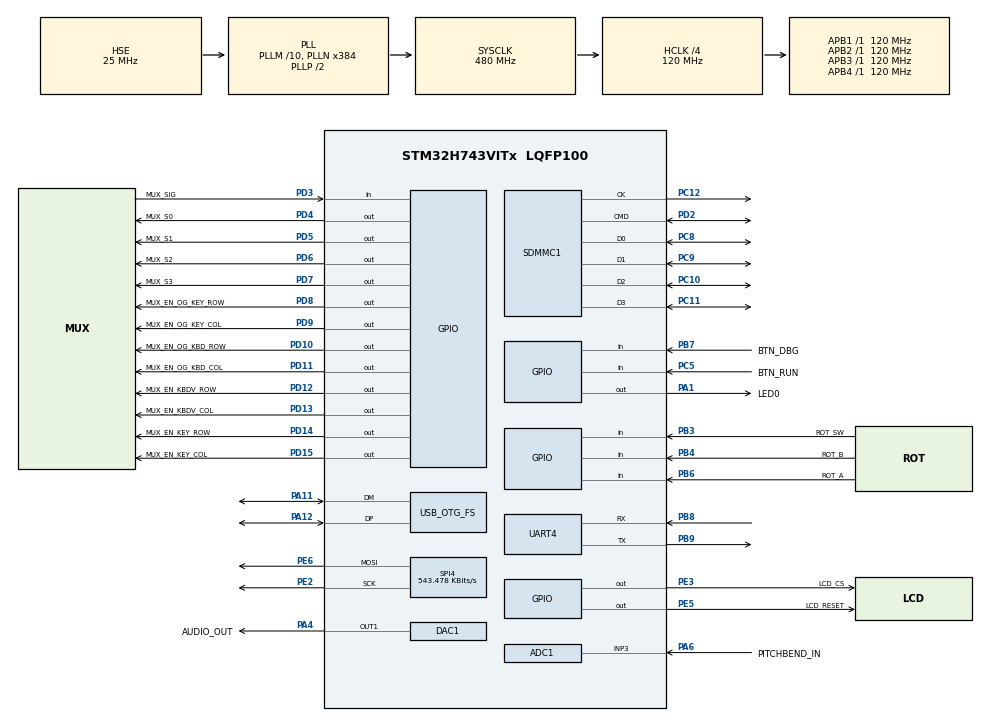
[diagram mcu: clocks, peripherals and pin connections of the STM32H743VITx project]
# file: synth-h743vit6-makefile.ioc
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ADC1.Channel-0\#ChannelRegularConversion=ADC_CHANNEL_3
ADC1.NbrOfConversionFlag=1
ADC1.OffsetNumber-0\#ChannelRegularConversion=ADC_OFFSET_NONE
ADC1.OffsetSignedSaturation-0\#ChannelRegularConversion=DISABLE
ADC1.Rank-0\#ChannelRegularConversion=1
ADC1.SamplingTime-0\#ChannelRegularConversion=ADC_SAMPLETIME_1CYCLE_5
ADC1.master=1
CORTEX_M7.default_mode_Activation=1
DAC1.DAC_Channel-DAC_OUT1=DAC_CHANNEL_1
DAC1.DAC_Trigger-DAC_OUT1=DAC_TRIGGER_T6_TRGO
Dma.DAC1_CH1.0.Direction=DMA_MEMORY_TO_PERIPH
Dma.DAC1_CH1.0.EventEnable=DISABLE
Dma.DAC1_CH1.0.FIFOMode=DMA_FIFOMODE_DISABLE
Dma.DAC1_CH1.0.Instance=DMA1_Stream0
Dma.DAC1_CH1.0.MemDataAlignment=DMA_MDATAALIGN_HALFWORD
Dma.DAC1_CH1.0.MemInc=DMA_MINC_ENABLE
Dma.DAC1_CH1.0.Mode=DMA_CIRCULAR
Dma.DAC1_CH1.0.PeriphDataAlignment=DMA_PDATAALIGN_HALFWORD
Dma.DAC1_CH1.0.PeriphInc=DMA_PINC_DISABLE
Dma.DAC1_CH1.0.Polarity=HAL_DMAMUX_REQ_GEN_RISING
Dma.DAC1_CH1.0.Priority=DMA_PRIORITY_VERY_HIGH
Dma.DAC1_CH1.0.RequestNumber=1
Dma.DAC1_CH1.0.SignalID=NONE
Dma.DAC1_CH1.0.SyncEnable=DISABLE
Dma.DAC1_CH1.0.SyncPolarity=HAL_DMAMUX_SYNC_NO_EVENT
Dma.DAC1_CH1.0.SyncRequestNumber=1
Dma.DAC1_CH1.0.SyncSignalID=NONE
Dma.Request0=DAC1_CH1
Dma.Request1=SPI4_TX
Dma.Request2=UART4_TX
Dma.SPI4_TX.1.Direction=DMA_MEMORY_TO_PERIPH
Dma.SPI4_TX.1.EventEnable=DISABLE
Dma.SPI4_TX.1.FIFOMode=DMA_FIFOMODE_DISABLE
Dma.SPI4_TX.1.Instance=DMA1_Stream1
Dma.SPI4_TX.1.MemDataAlignment=DMA_MDATAALIGN_BYTE
Dma.SPI4_TX.1.MemInc=DMA_MINC_ENABLE
Dma.SPI4_TX.1.Mode=DMA_NORMAL
Dma.SPI4_TX.1.PeriphDataAlignment=DMA_PDATAALIGN_BYTE
Dma.SPI4_TX.1.PeriphInc=DMA_PINC_DISABLE
Dma.SPI4_TX.1.Polarity=HAL_DMAMUX_REQ_GEN_RISING
Dma.SPI4_TX.1.Priority=DMA_PRIORITY_LOW
Dma.SPI4_TX.1.RequestNumber=1
Dma.SPI4_TX.1.SignalID=NONE
Dma.SPI4_TX.1.SyncEnable=DISABLE
Dma.SPI4_TX.1.SyncPolarity=HAL_DMAMUX_SYNC_NO_EVENT
Dma.SPI4_TX.1.SyncRequestNumber=1
Dma.SPI4_TX.1.SyncSignalID=NONE
Dma.UART4_TX.2.Direction=DMA_MEMORY_TO_PERIPH
Dma.UART4_TX.2.EventEnable=DISABLE
Dma.UART4_TX.2.FIFOMode=DMA_FIFOMODE_DISABLE
Dma.UART4_TX.2.Instance=DMA1_Stream2
Dma.UART4_TX.2.MemDataAlignment=DMA_MDATAALIGN_BYTE
Dma.UART4_TX.2.MemInc=DMA_MINC_ENABLE
Dma.UART4_TX.2.Mode=DMA_NORMAL
Dma.UART4_TX.2.PeriphDataAlignment=DMA_PDATAALIGN_BYTE
Dma.UART4_TX.2.PeriphInc=DMA_PINC_DISABLE
Dma.UART4_TX.2.Polarity=HAL_DMAMUX_REQ_GEN_RISING
Dma.UART4_TX.2.Priority=DMA_PRIORITY_MEDIUM
Dma.UART4_TX.2.RequestNumber=1
Dma.UART4_TX.2.SignalID=NONE
Dma.UART4_TX.2.SyncEnable=DISABLE
Dma.UART4_TX.2.SyncPolarity=HAL_DMAMUX_SYNC_NO_EVENT
Dma.UART4_TX.2.SyncRequestNumber=1
Dma.UART4_TX.2.SyncSignalID=NONE
Mcu.Family=STM32H7
Mcu.Name=STM32H743VITx
Mcu.Package=LQFP100
Mcu.UserConstants=dac1ch1,audio;dac1ch2,triangle;usage4,us delay timer;usage3,poll timer;usage6,48khz dac;usage5,us timer;usage7,10khz timer;usage17,rotary encoder
NVIC.DMA1_Stream0_IRQn=true\:14\:0\:true\:false\:true\:false\:true\:true
NVIC.DMA1_Stream1_IRQn=true\:12\:0\:true\:false\:true\:false\:true\:true
NVIC.DMA1_Stream2_IRQn=true\:13\:0\:true\:false\:true\:false\:true\:true
NVIC.OTG_FS_IRQn=true\:0\:0\:false\:false\:true\:false\:true\:true
NVIC.PriorityGroup=NVIC_PRIORITYGROUP_4
NVIC.SPI4_IRQn=true\:0\:0\:false\:false\:true\:false\:true\:true
NVIC.TIM2_IRQn=true\:15\:0\:false\:false\:true\:false\:true\:true
NVIC.TIM6_DAC_IRQn=true\:0\:0\:false\:false\:true\:true\:true\:true
NVIC.TIM7_IRQn=true\:0\:0\:false\:false\:true\:true\:true\:true
NVIC.TimeBase=TIM2_IRQn
NVIC.TimeBaseIP=TIM2
NVIC.UART4_IRQn=true\:0\:0\:false\:false\:true\:true\:true\:true
PA1.GPIO_Label=LED0
PA1.Signal=GPIO_Output
PA11.Mode=Device_Only
PA11.Signal=USB_OTG_FS_DM
PA12.Mode=Device_Only
PA12.Signal=USB_OTG_FS_DP
PA13\ (JTMS/SWDIO).Mode=Serial_Wire
PA13\ (JTMS/SWDIO).Signal=DEBUG_JTMS-SWDIO
PA14\ (JTCK/SWCLK).Mode=Serial_Wire
PA14\ (JTCK/SWCLK).Signal=DEBUG_JTCK-SWCLK
PA4.GPIO_Label=AUDIO_OUT
PA4.Signal=COMP_DAC11_group
PA6.GPIO_Label=PITCHBEND_IN
PA6.Signal=ADCx_INP3
PB3\ (JTDO/TRACESWO).GPIO_Label=ROT_SW
PB3\ (JTDO/TRACESWO).GPIO_PuPd=GPIO_PULLUP
PB3\ (JTDO/TRACESWO).Signal=GPIO_Input
PB4\ (NJTRST).GPIO_Label=ROT_B
PB4\ (NJTRST).GPIO_PuPd=GPIO_PULLUP
PB4\ (NJTRST).Signal=GPIO_Input
PB6.GPIO_Label=ROT_A
PB6.GPIO_PuPd=GPIO_PULLUP
PB6.Signal=GPIO_Input
PB7.GPIO_Label=BTN_DBG
PB7.GPIO_PuPd=GPIO_PULLDOWN
PB7.Signal=GPIO_Input
PB8.GPIO_FM8=SYSCFG_PMCR_I2C_PB8_FMP
PB8.GPIO_Speed=GPIO_SPEED_FREQ_LOW
PB8.Mode=Asynchronous
PB8.Signal=UART4_RX
PB9.GPIO_FM9=SYSCFG_PMCR_I2C_PB9_FMP
PB9.GPIO_Speed=GPIO_SPEED_FREQ_LOW
PB9.Mode=Asynchronous
PB9.Signal=UART4_TX
PC10.GPIO_PuPd=GPIO_PULLUP
PC10.Mode=SD_4_bits_Wide_bus
PC10.Signal=SDMMC1_D2
PC11.GPIO_PuPd=GPIO_PULLUP
PC11.Mode=SD_4_bits_Wide_bus
PC11.Signal=SDMMC1_D3
PC12.GPIO_PuPd=GPIO_PULLUP
PC12.Mode=SD_4_bits_Wide_bus
PC12.Signal=SDMMC1_CK
PC5.GPIO_Label=BTN_RUN
PC5.GPIO_PuPd=GPIO_PULLUP
PC5.Signal=GPIO_Input
PC8.GPIO_PuPd=GPIO_PULLUP
PC8.Mode=SD_4_bits_Wide_bus
PC8.Signal=SDMMC1_D0
PC9.GPIO_PuPd=GPIO_PULLUP
PC9.Mode=SD_4_bits_Wide_bus
PC9.Signal=SDMMC1_D1
PD10.GPIO_Label=MUX_EN_OG_KBD_ROW
PD10.GPIO_ModeDefaultOutputPP=GPIO_MODE_OUTPUT_PP
PD10.GPIO_PuPd=GPIO_NOPULL
PD10.Signal=GPIO_Output
PD11.GPIO_Label=MUX_EN_OG_KBD_COL
PD11.Signal=GPIO_Output
PD12.GPIO_Label=MUX_EN_KBDV_ROW
PD12.Signal=GPIO_Output
PD13.GPIO_Label=MUX_EN_KBDV_COL
PD13.Signal=GPIO_Output
PD14.GPIO_Label=MUX_EN_KEY_ROW
PD14.Signal=GPIO_Output
PD15.GPIO_Label=MUX_EN_KEY_COL
PD15.Signal=GPIO_Output
PD2.GPIO_PuPd=GPIO_PULLUP
PD2.Mode=SD_4_bits_Wide_bus
PD2.Signal=SDMMC1_CMD
PD3.GPIO_Label=MUX_SIG
PD3.GPIO_PuPd=GPIO_PULLDOWN
PD3.Signal=GPIO_Input
PD4.GPIO_Label=MUX_S0
PD4.GPIO_PuPd=GPIO_PULLDOWN
PD4.Signal=GPIO_Output
PD5.GPIO_Label=MUX_S1
PD5.Signal=GPIO_Output
PD6.GPIO_Label=MUX_S2
PD6.GPIO_PuPd=GPIO_PULLDOWN
PD6.Signal=GPIO_Output
PD7.GPIO_Label=MUX_S3
PD7.GPIO_PuPd=GPIO_PULLDOWN
PD7.Signal=GPIO_Output
PD8.GPIO_Label=MUX_EN_OG_KEY_ROW
PD8.GPIO_ModeDefaultOutputPP=GPIO_MODE_OUTPUT_PP
PD8.GPIO_PuPd=GPIO_NOPULL
PD8.Signal=GPIO_Output
PD9.GPIO_Label=MUX_EN_OG_KEY_COL
PD9.GPIO_ModeDefaultOutputPP=GPIO_MODE_OUTPUT_PP
PD9.GPIO_PuPd=GPIO_NOPULL
PD9.Signal=GPIO_Output
PE2.GPIO_Speed=GPIO_SPEED_FREQ_VERY_HIGH
PE2.Mode=TX_Only_Simplex_Unidirect_Master
PE2.Signal=SPI4_SCK
PE3.GPIO_Label=LCD_CS
PE3.GPIO_Speed=GPIO_SPEED_FREQ_VERY_HIGH
PE3.Signal=GPIO_Output
PE5.GPIO_Label=LCD_RESET
PE5.GPIO_PuPd=GPIO_PULLDOWN
PE5.Signal=GPIO_Output
PE6.GPIO_Speed=GPIO_SPEED_FREQ_VERY_HIGH
PE6.Mode=TX_Only_Simplex_Unidirect_Master
PE6.Signal=SPI4_MOSI
PH0-OSC_IN\ (PH0).Mode=HSE-External-Oscillator
PH0-OSC_IN\ (PH0).Signal=RCC_OSC_IN
PH1-OSC_OUT\ (PH1).Mode=HSE-External-Oscillator
PH1-OSC_OUT\ (PH1).Signal=RCC_OSC_OUT
ProjectManager.HeapSize=0x800
ProjectManager.StackSize=0x800
ProjectManager.TargetToolchain=Makefile
RCC.ADCFreq_Value=50000000
RCC.APB1Freq_Value=120000000
RCC.APB2Freq_Value=120000000
RCC.APB3Freq_Value=120000000
RCC.APB4Freq_Value=120000000
RCC.CortexFreq_Value=480000000
RCC.DIVM1=10
RCC.DIVM2=10
RCC.DIVM3=10
RCC.DIVN1=384
RCC.DIVN2=80
RCC.DIVN3=96
RCC.DIVP2=4
RCC.DIVQ1=20
RCC.DIVQ2=23
RCC.DIVQ3=10
RCC.DIVR2=1
RCC.DIVR3=1
RCC.HCLKFreq_Value=120000000
RCC.HPRE=RCC_HCLK_DIV4
RCC.HSE_Timout=800
RCC.HSE_VALUE=25000000
RCC.PLL2FRACN=0
RCC.PLL3FRACN=0
RCC.PLLFRACN=0
RCC.PLLSourceVirtual=RCC_PLLSOURCE_HSE
RCC.SDMMC1CLockSelection=RCC_SDMMCCLKSOURCE_PLL2
RCC.SPI123CLockSelection=RCC_SPI123CLKSOURCE_PLL3
RCC.SPI6CLockSelection=RCC_SPI6CLKSOURCE_PLL3
RCC.SYSCLKFreq_VALUE=480000000
RCC.SYSCLKSource=RCC_SYSCLKSOURCE_PLLCLK
RCC.Spi45ClockSelection=RCC_SPI45CLKSOURCE_PLL2
RCC.SupplySource=PWR_LDO_SUPPLY
RCC.USBFreq_Value=48000000
SH.ADCx_INP3.0=ADC1_INP3,IN3-Single-Ended
SH.COMP_DAC11_group.0=DAC1_OUT1,DAC_OUT1
SPI4.BaudRatePrescaler=SPI_BAUDRATEPRESCALER_16
SPI4.CLKPhase=SPI_PHASE_2EDGE
SPI4.CLKPolarity=SPI_POLARITY_HIGH
SPI4.CalculateBaudRate=543.478 KBits/s
SPI4.DataSize=SPI_DATASIZE_8BIT
SPI4.Direction=SPI_DIRECTION_2LINES_TXONLY
SPI4.Mode=SPI_MODE_MASTER
SPI4.VirtualType=VM_MASTER
TIM17.Prescaler=11999
TIM3.Period=59999
TIM3.Prescaler=1
TIM4.Period=65535
TIM4.Prescaler=119
TIM4.TIM_MasterOutputTrigger=TIM_TRGO_RESET
TIM5.Prescaler=119
TIM6.Period=2499
TIM6.Prescaler=0
TIM6.TIM_MasterOutputTrigger=TIM_TRGO_UPDATE
TIM7.Period=11999
TIM7.Prescaler=0
TIM7.TIM_MasterOutputTrigger=TIM_TRGO_UPDATE
TIM8.Period=7
TIM8.TIM_MasterOutputTrigger=TIM_TRGO_UPDATE
USB_DEVICE.CLASS_NAME_FS=CDC
USB_DEVICE.USBD_DEBUG_LEVEL-CDC_FS=3
USB_DEVICE.VirtualMode-CDC_FS=Cdc
USB_DEVICE.VirtualModeFS=Cdc_FS
USB_OTG_FS.VirtualMode=Device_Only
VP_MEMORYMAP_VS_MEMORYMAP.Mode=CurAppReg
VP_SYS_VS_tim2.Mode=TIM2
VP_TIM17_VS_ClockSourceINT.Mode=Enable_Timer
VP_TIM3_VS_ClockSourceINT.Mode=Internal
VP_TIM4_VS_ClockSourceINT.Mode=Internal
VP_TIM5_VS_ClockSourceINT.Mode=Internal
VP_TIM6_VS_ClockSourceINT.Mode=Enable_Timer
VP_TIM7_VS_ClockSourceINT.Mode=Enable_Timer
VP_TIM8_VS_ClockSourceINT.Mode=Internal
VP_USB_DEVICE_VS_USB_DEVICE_CDC_FS.Mode=CDC_FS
board=custom

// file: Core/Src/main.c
/* USER CODE BEGIN Header */
/**
  ******************************************************************************
  * @file           : main.c
  * @brief          : Main program body
  ******************************************************************************
  * @attention
  *
  * Copyright (c) 2025 STMicroelectronics.
  * All rights reserved.
  *
  * This software is licensed under terms that can be found in the LICENSE file
  * in the root directory of this software component.
  * If no LICENSE file comes with this software, it is provided AS-IS.
  *
  ******************************************************************************
  */
/* USER CODE END Header */
#include "main.h"
#include "usb_device.h"

/* USER CODE BEGIN Includes */
#include <types.h>
#include <stdlib.h>
#include <string.h>
#include <sfs.h>
#include <stdio.h>
#include <glcd/glcd.h>
#include <smidi/smidi.h>
#include <stdio.h>
#include <stdarg.h>
#include <ssys/ssys.h>
#include <sser/sser.h>

#include "splayer/splayer.h"
/* USER CODE END Includes */

/* USER CODE BEGIN PM */
#ifndef SYNTHWIN
/* USER CODE END PM */

ADC_HandleTypeDef hadc1;

DAC_HandleTypeDef hdac1;
DMA_HandleTypeDef hdma_dac1_ch1;

SD_HandleTypeDef hsd1;

SPI_HandleTypeDef hspi4;
DMA_HandleTypeDef hdma_spi4_tx;

TIM_HandleTypeDef htim3;
TIM_HandleTypeDef htim4;
TIM_HandleTypeDef htim5;
TIM_HandleTypeDef htim6;
TIM_HandleTypeDef htim7;
TIM_HandleTypeDef htim8;
TIM_HandleTypeDef htim17;

UART_HandleTypeDef huart4;
DMA_HandleTypeDef  hdma_uart4_tx;

/* USER CODE BEGIN PV */
#endif
/* USER CODE END PV */

void        SystemClock_Config(void);
void        PeriphCommonClock_Config(void);
static void MPU_Config(void);
static void MX_GPIO_Init(void);
static void MX_DMA_Init(void);
static void MX_DAC1_Init(void);
static void MX_SDMMC1_SD_Init(void);
static void MX_TIM4_Init(void);
static void MX_TIM3_Init(void);
static void MX_TIM6_Init(void);
static void MX_TIM5_Init(void);
static void MX_ADC1_Init(void);
static void MX_TIM7_Init(void);
static void MX_SPI4_Init(void);
static void MX_TIM8_Init(void);
static void MX_UART4_Init(void);
static void MX_TIM17_Init(void);

/* USER CODE BEGIN 0 */

#ifndef SYNTHWIN
const muxMasterCfg gMuxMasterCfg = {{MUX_SIG_Pin, MUX_SIG_GPIO_Port}, {{MUX_S0_Pin, MUX_S0_GPIO_Port}, {MUX_S1_Pin, MUX_S1_GPIO_Port}, {MUX_S2_Pin, MUX_S2_GPIO_Port}, {MUX_S3_Pin, MUX_S3_GPIO_Port},}};

const mux gMuxOgKeyRow = {0, {MUX_EN_OG_KEY_ROW_Pin, MUX_EN_OG_KEY_ROW_GPIO_Port}};
const mux gMuxOgKeyCol = {1, {MUX_EN_OG_KEY_COL_Pin, MUX_EN_OG_KEY_COL_GPIO_Port}};
const mux gMuxOgKbdRow = {2, {MUX_EN_OG_KBD_ROW_Pin, MUX_EN_OG_KBD_ROW_GPIO_Port}};
const mux gMuxOgKbdCol = {3, {MUX_EN_OG_KBD_COL_Pin, MUX_EN_OG_KBD_COL_GPIO_Port}};
const mux gMuxKbdvRow  = {4, {MUX_EN_KBDV_ROW_Pin, MUX_EN_KBDV_ROW_GPIO_Port}};
const mux gMuxKbdvCol  = {5, {MUX_EN_KBDV_COL_Pin, MUX_EN_KBDV_COL_GPIO_Port}};
const mux gMuxKeyRow   = {6, {MUX_EN_KEY_ROW_Pin, MUX_EN_KEY_ROW_GPIO_Port}};
const mux gMuxKeyCol   = {7, {MUX_EN_KEY_COL_Pin, MUX_EN_KEY_COL_GPIO_Port}};

const mux gMuxList[] = {gMuxOgKeyRow, gMuxOgKeyCol, gMuxOgKbdRow, gMuxOgKbdCol, gMuxKbdvRow, gMuxKbdvCol, gMuxKeyRow, gMuxKeyCol};

const size_t gMuxCount    = sizeof(gMuxList) / sizeof(gMuxList[0]);
const size_t gMuxChannels = sizeof(gMuxMasterCfg.pinsSelect) / sizeof(gMuxMasterCfg.pinsSelect[0]);

// 14 GPIO ops = 8 + 4 + 1 + 1
bool muxRead(mux *pMux, u8 pChan) {
    for (int i = 0; i < gMuxCount; ++i)
    {
        gpioSet(&((gMuxList + i)->enable), 1);
    }

    for (int i = 0; i < gMuxChannels; ++i)
    {
        gpioSet(gMuxMasterCfg.pinsSelect + i, (pChan >> i) & 1);
    }

    gpioSet(&(gMuxList + pMux->id)->enable, 0);

    gpioModeInput(&gMuxMasterCfg.pinSig);
    return gpioGet(&gMuxMasterCfg.pinSig);
}

// 14 GPIO ops = 8 + 4 + 1 + 1
void muxWrite(mux *pMux, u8 pChan, bool pVal) {
    for (int i = 0; i < gMuxCount; ++i)
    {
        gpioSet(&((gMuxList + i)->enable), 1);
    }

    for (int i = 0; i < gMuxChannels; ++i)
    {
        gpioSet(gMuxMasterCfg.pinsSelect + i, (pChan >> i) & 1);
    }

    gpioSet(&((gMuxList + pMux->id)->enable), 0);

    gpioModeOutput(&gMuxMasterCfg.pinSig);
    gpioSet(&gMuxMasterCfg.pinSig, pVal);
}
#endif

const rowColCoord gOgKeyMap[] = {{0, 0},};

/* USER CODE END 0 */

int main(void) {

    /* MPU Configuration--------------------------------------------------------*/
    MPU_Config();

    /* MCU Configuration--------------------------------------------------------*/

    /* Reset of all peripherals, Initializes the Flash interface and the Systick. */
    HAL_Init();

    /* Configure the system clock */
    SystemClock_Config();

    /* Configure the peripherals common clocks */
    PeriphCommonClock_Config();

    /* USER CODE BEGIN SysInit */
    // #define MX_DMA_Init()
    // #define MX_BDMA_Init()

    /* USER CODE END SysInit */

    /* Initialize all configured peripherals */
    MX_GPIO_Init();
    MX_DMA_Init();
    MX_DAC1_Init();
    MX_SDMMC1_SD_Init();
    MX_TIM4_Init();
    MX_TIM3_Init();
    MX_TIM6_Init();
    MX_TIM5_Init();
    MX_ADC1_Init();
    MX_TIM7_Init();
    MX_SPI4_Init();
    MX_TIM8_Init();
    MX_UART4_Init();
    MX_TIM17_Init();
    MX_USB_DEVICE_Init();
    /* USER CODE BEGIN 2 */

    glcdInit(&hspi4, LCD_CS_GPIO_Port, LCD_CS_Pin);

    u8 dots = 0;
    bool btnRunLastState = false;
    while (true)
    {
        HAL_GPIO_TogglePin(LED0_GPIO_Port, LED0_Pin);

        dots++;
        if (dots > 3)
        {
            dots = 0;
        }

        glcdPrintf("Waiting for start signal");
        for (int i = 0; i < dots; ++i)
        {
            glcdPrintf(".");
        }

        glcdFinalize();

        bool currentState = !HAL_GPIO_ReadPin(BTN_RUN_GPIO_Port, BTN_RUN_Pin);
        if (btnRunLastState && !currentState)
        {
            break;
        }

        btnRunLastState = currentState;

        HAL_Delay(200);
    }

    HAL_GPIO_WritePin(LED0_GPIO_Port, LED0_Pin, GPIO_PIN_SET);

    HAL_TIM_Base_Start(&htim3);
    HAL_TIM_Base_Start(&htim4);
    HAL_TIM_Base_Start(&htim5);
    HAL_TIM_Base_Start_IT(&htim6);
    HAL_TIM_Base_Start_IT(&htim7);
    HAL_TIM_Base_Start(&htim8);

    sfsInit();
    sysInit(&hdac1, &hadc1);

    /* USER CODE END 2 */

    /* Infinite loop */
    /* USER CODE BEGIN WHILE */
    halt(true);
    // while (1)
    // {
    //     u32 t0 = gSysTickCounter;
    //     sysPoll();
    //     gSysDeltaTime = (gSysTickCounter - t0) / 10000.0F;
    /* USER CODE END WHILE */

    /* USER CODE BEGIN 3 */
    // }
    /* USER CODE END 3 */
}

void SystemClock_Config(void) {
    RCC_OscInitTypeDef RCC_OscInitStruct = {0};
    RCC_ClkInitTypeDef RCC_ClkInitStruct = {0};

    /** Supply configuration update enable
    */
    HAL_PWREx_ConfigSupply(PWR_LDO_SUPPLY);

    /** Configure the main internal regulator output voltage
    */
    __HAL_PWR_VOLTAGESCALING_CONFIG(PWR_REGULATOR_VOLTAGE_SCALE0);

    while (!__HAL_PWR_GET_FLAG(PWR_FLAG_VOSRDY))
    {
    }

    /** Initializes the RCC Oscillators according to the specified parameters
    * in the RCC_OscInitTypeDef structure.
    */
    RCC_OscInitStruct.OscillatorType = RCC_OSCILLATORTYPE_HSE;
    RCC_OscInitStruct.HSEState       = RCC_HSE_ON;
    RCC_OscInitStruct.PLL.PLLState   = RCC_PLL_ON;
    RCC_OscInitStruct.PLL.PLLSource  = RCC_PLLSOURCE_HSE;
    RCC_OscInitStruct.PLL.PLLM       = 10;
    RCC_OscInitStruct.PLL.PLLN       = 384;
    RCC_OscInitStruct.PLL.PLLP       = 2;
    RCC_OscInitStruct.PLL.PLLQ       = 20;
    RCC_OscInitStruct.PLL.PLLR       = 2;
    RCC_OscInitStruct.PLL.PLLRGE     = RCC_PLL1VCIRANGE_1;
    RCC_OscInitStruct.PLL.PLLVCOSEL  = RCC_PLL1VCOWIDE;
    RCC_OscInitStruct.PLL.PLLFRACN   = 0;
    if (HAL_RCC_OscConfig(&RCC_OscInitStruct) != HAL_OK)
    {
        Error_Handler();
    }

    /** Initializes the CPU, AHB and APB buses clocks
    */
    RCC_ClkInitStruct.ClockType = RCC_CLOCKTYPE_HCLK | RCC_CLOCKTYPE_SYSCLK
                                  | RCC_CLOCKTYPE_PCLK1 | RCC_CLOCKTYPE_PCLK2
                                  | RCC_CLOCKTYPE_D3PCLK1 | RCC_CLOCKTYPE_D1PCLK1;
    RCC_ClkInitStruct.SYSCLKSource   = RCC_SYSCLKSOURCE_PLLCLK;
    RCC_ClkInitStruct.SYSCLKDivider  = RCC_SYSCLK_DIV1;
    RCC_ClkInitStruct.AHBCLKDivider  = RCC_HCLK_DIV4;
    RCC_ClkInitStruct.APB3CLKDivider = RCC_APB3_DIV1;
    RCC_ClkInitStruct.APB1CLKDivider = RCC_APB1_DIV1;
    RCC_ClkInitStruct.APB2CLKDivider = RCC_APB2_DIV1;
    RCC_ClkInitStruct.APB4CLKDivider = RCC_APB4_DIV1;

    if (HAL_RCC_ClockConfig(&RCC_ClkInitStruct, FLASH_LATENCY_1) != HAL_OK)
    {
        Error_Handler();
    }
}

void PeriphCommonClock_Config(void) {
    RCC_PeriphCLKInitTypeDef PeriphClkInitStruct = {0};

    /** Initializes the peripherals clock
    */
    PeriphClkInitStruct.PeriphClockSelection = RCC_PERIPHCLK_ADC | RCC_PERIPHCLK_SDMMC
                                               | RCC_PERIPHCLK_SPI4;
    PeriphClkInitStruct.PLL2.PLL2M          = 10;
    PeriphClkInitStruct.PLL2.PLL2N          = 80;
    PeriphClkInitStruct.PLL2.PLL2P          = 4;
    PeriphClkInitStruct.PLL2.PLL2Q          = 23;
    PeriphClkInitStruct.PLL2.PLL2R          = 1;
    PeriphClkInitStruct.PLL2.PLL2RGE        = RCC_PLL2VCIRANGE_1;
    PeriphClkInitStruct.PLL2.PLL2VCOSEL     = RCC_PLL2VCOWIDE;
    PeriphClkInitStruct.PLL2.PLL2FRACN      = 0;
    PeriphClkInitStruct.SdmmcClockSelection = RCC_SDMMCCLKSOURCE_PLL2;
    PeriphClkInitStruct.Spi45ClockSelection = RCC_SPI45CLKSOURCE_PLL2;
    PeriphClkInitStruct.AdcClockSelection   = RCC_ADCCLKSOURCE_PLL2;
    if (HAL_RCCEx_PeriphCLKConfig(&PeriphClkInitStruct) != HAL_OK)
    {
        Error_Handler();
    }
}

static void MX_ADC1_Init(void) {

    ADC_MultiModeTypeDef   multimode = {0};
    ADC_ChannelConfTypeDef sConfig   = {0};

    /** Common config
    */
    hadc1.Instance                      = ADC1;
    hadc1.Init.ClockPrescaler           = ADC_CLOCK_ASYNC_DIV1;
    hadc1.Init.Resolution               = ADC_RESOLUTION_16B;
    hadc1.Init.ScanConvMode             = ADC_SCAN_DISABLE;
    hadc1.Init.EOCSelection             = ADC_EOC_SINGLE_CONV;
    hadc1.Init.LowPowerAutoWait         = DISABLE;
    hadc1.Init.ContinuousConvMode       = DISABLE;
    hadc1.Init.NbrOfConversion          = 1;
    hadc1.Init.DiscontinuousConvMode    = DISABLE;
    hadc1.Init.ExternalTrigConv         = ADC_SOFTWARE_START;
    hadc1.Init.ExternalTrigConvEdge     = ADC_EXTERNALTRIGCONVEDGE_NONE;
    hadc1.Init.ConversionDataManagement = ADC_CONVERSIONDATA_DR;
    hadc1.Init.Overrun                  = ADC_OVR_DATA_PRESERVED;
    hadc1.Init.LeftBitShift             = ADC_LEFTBITSHIFT_NONE;
    hadc1.Init.OversamplingMode         = DISABLE;
    hadc1.Init.Oversampling.Ratio       = 1;
    if (HAL_ADC_Init(&hadc1) != HAL_OK)
    {
        Error_Handler();
    }

    /** Configure the ADC multi-mode
    */
    multimode.Mode = ADC_MODE_INDEPENDENT;
    if (HAL_ADCEx_MultiModeConfigChannel(&hadc1, &multimode) != HAL_OK)
    {
        Error_Handler();
    }

    /** Configure Regular Channel
    */
    sConfig.Channel                = ADC_CHANNEL_3;
    sConfig.Rank                   = ADC_REGULAR_RANK_1;
    sConfig.SamplingTime           = ADC_SAMPLETIME_1CYCLE_5;
    sConfig.SingleDiff             = ADC_SINGLE_ENDED;
    sConfig.OffsetNumber           = ADC_OFFSET_NONE;
    sConfig.Offset                 = 0;
    sConfig.OffsetSignedSaturation = DISABLE;
    if (HAL_ADC_ConfigChannel(&hadc1, &sConfig) != HAL_OK)
    {
        Error_Handler();
    }
}

static void MX_DAC1_Init(void) {

    DAC_ChannelConfTypeDef sConfig = {0};

    /** DAC Initialization
    */
    hdac1.Instance = DAC1;
    if (HAL_DAC_Init(&hdac1) != HAL_OK)
    {
        Error_Handler();
    }

    /** DAC channel OUT1 config
    */
    sConfig.DAC_SampleAndHold           = DAC_SAMPLEANDHOLD_DISABLE;
    sConfig.DAC_Trigger                 = DAC_TRIGGER_T6_TRGO;
    sConfig.DAC_OutputBuffer            = DAC_OUTPUTBUFFER_ENABLE;
    sConfig.DAC_ConnectOnChipPeripheral = DAC_CHIPCONNECT_DISABLE;
    sConfig.DAC_UserTrimming            = DAC_TRIMMING_FACTORY;
    if (HAL_DAC_ConfigChannel(&hdac1, &sConfig, DAC_CHANNEL_1) != HAL_OK)
    {
        Error_Handler();
    }
}

static void MX_SDMMC1_SD_Init(void) {

    hsd1.Instance                 = SDMMC1;
    hsd1.Init.ClockEdge           = SDMMC_CLOCK_EDGE_RISING;
    hsd1.Init.ClockPowerSave      = SDMMC_CLOCK_POWER_SAVE_DISABLE;
    hsd1.Init.BusWide             = SDMMC_BUS_WIDE_4B;
    hsd1.Init.HardwareFlowControl = SDMMC_HARDWARE_FLOW_CONTROL_DISABLE;
    hsd1.Init.ClockDiv            = 0;
    if (HAL_SD_Init(&hsd1) != HAL_OK)
    {
        Error_Handler();
    }
}

static void MX_SPI4_Init(void) {

    /* SPI4 parameter configuration*/
    hspi4.Instance                        = SPI4;
    hspi4.Init.Mode                       = SPI_MODE_MASTER;
    hspi4.Init.Direction                  = SPI_DIRECTION_2LINES_TXONLY;
    hspi4.Init.DataSize                   = SPI_DATASIZE_8BIT;
    hspi4.Init.CLKPolarity                = SPI_POLARITY_HIGH;
    hspi4.Init.CLKPhase                   = SPI_PHASE_2EDGE;
    hspi4.Init.NSS                        = SPI_NSS_SOFT;
    hspi4.Init.BaudRatePrescaler          = SPI_BAUDRATEPRESCALER_16;
    hspi4.Init.FirstBit                   = SPI_FIRSTBIT_MSB;
    hspi4.Init.TIMode                     = SPI_TIMODE_DISABLE;
    hspi4.Init.CRCCalculation             = SPI_CRCCALCULATION_DISABLE;
    hspi4.Init.CRCPolynomial              = 0x0;
    hspi4.Init.NSSPMode                   = SPI_NSS_PULSE_ENABLE;
    hspi4.Init.NSSPolarity                = SPI_NSS_POLARITY_LOW;
    hspi4.Init.FifoThreshold              = SPI_FIFO_THRESHOLD_01DATA;
    hspi4.Init.TxCRCInitializationPattern = SPI_CRC_INITIALIZATION_ALL_ZERO_PATTERN;
    hspi4.Init.RxCRCInitializationPattern = SPI_CRC_INITIALIZATION_ALL_ZERO_PATTERN;
    hspi4.Init.MasterSSIdleness           = SPI_MASTER_SS_IDLENESS_00CYCLE;
    hspi4.Init.MasterInterDataIdleness    = SPI_MASTER_INTERDATA_IDLENESS_00CYCLE;
    hspi4.Init.MasterReceiverAutoSusp     = SPI_MASTER_RX_AUTOSUSP_DISABLE;
    hspi4.Init.MasterKeepIOState          = SPI_MASTER_KEEP_IO_STATE_DISABLE;
    hspi4.Init.IOSwap                     = SPI_IO_SWAP_DISABLE;
    if (HAL_SPI_Init(&hspi4) != HAL_OK)
    {
        Error_Handler();
    }
}

static void MX_TIM3_Init(void) {

    TIM_ClockConfigTypeDef  sClockSourceConfig = {0};
    TIM_MasterConfigTypeDef sMasterConfig      = {0};

    htim3.Instance               = TIM3;
    htim3.Init.Prescaler         = 1;
    htim3.Init.CounterMode       = TIM_COUNTERMODE_UP;
    htim3.Init.Period            = 59999;
    htim3.Init.ClockDivision     = TIM_CLOCKDIVISION_DIV1;
    htim3.Init.AutoReloadPreload = TIM_AUTORELOAD_PRELOAD_DISABLE;
    if (HAL_TIM_Base_Init(&htim3) != HAL_OK)
    {
        Error_Handler();
    }
    sClockSourceConfig.ClockSource = TIM_CLOCKSOURCE_INTERNAL;
    if (HAL_TIM_ConfigClockSource(&htim3, &sClockSourceConfig) != HAL_OK)
    {
        Error_Handler();
    }
    sMasterConfig.MasterOutputTrigger = TIM_TRGO_RESET;
    sMasterConfig.MasterSlaveMode     = TIM_MASTERSLAVEMODE_DISABLE;
    if (HAL_TIMEx_MasterConfigSynchronization(&htim3, &sMasterConfig) != HAL_OK)
    {
        Error_Handler();
    }
}

static void MX_TIM4_Init(void) {

    TIM_ClockConfigTypeDef  sClockSourceConfig = {0};
    TIM_MasterConfigTypeDef sMasterConfig      = {0};

    htim4.Instance               = TIM4;
    htim4.Init.Prescaler         = 119;
    htim4.Init.CounterMode       = TIM_COUNTERMODE_UP;
    htim4.Init.Period            = 65535;
    htim4.Init.ClockDivision     = TIM_CLOCKDIVISION_DIV1;
    htim4.Init.AutoReloadPreload = TIM_AUTORELOAD_PRELOAD_DISABLE;
    if (HAL_TIM_Base_Init(&htim4) != HAL_OK)
    {
        Error_Handler();
    }
    sClockSourceConfig.ClockSource = TIM_CLOCKSOURCE_INTERNAL;
    if (HAL_TIM_ConfigClockSource(&htim4, &sClockSourceConfig) != HAL_OK)
    {
        Error_Handler();
    }
    sMasterConfig.MasterOutputTrigger = TIM_TRGO_RESET;
    sMasterConfig.MasterSlaveMode     = TIM_MASTERSLAVEMODE_DISABLE;
    if (HAL_TIMEx_MasterConfigSynchronization(&htim4, &sMasterConfig) != HAL_OK)
    {
        Error_Handler();
    }
}

static void MX_TIM5_Init(void) {

    TIM_ClockConfigTypeDef  sClockSourceConfig = {0};
    TIM_MasterConfigTypeDef sMasterConfig      = {0};

    htim5.Instance               = TIM5;
    htim5.Init.Prescaler         = 119;
    htim5.Init.CounterMode       = TIM_COUNTERMODE_UP;
    htim5.Init.Period            = 4294967295;
    htim5.Init.ClockDivision     = TIM_CLOCKDIVISION_DIV1;
    htim5.Init.AutoReloadPreload = TIM_AUTORELOAD_PRELOAD_DISABLE;
    if (HAL_TIM_Base_Init(&htim5) != HAL_OK)
    {
        Error_Handler();
    }
    sClockSourceConfig.ClockSource = TIM_CLOCKSOURCE_INTERNAL;
    if (HAL_TIM_ConfigClockSource(&htim5, &sClockSourceConfig) != HAL_OK)
    {
        Error_Handler();
    }
    sMasterConfig.MasterOutputTrigger = TIM_TRGO_RESET;
    sMasterConfig.MasterSlaveMode     = TIM_MASTERSLAVEMODE_DISABLE;
    if (HAL_TIMEx_MasterConfigSynchronization(&htim5, &sMasterConfig) != HAL_OK)
    {
        Error_Handler();
    }
}

static void MX_TIM6_Init(void) {

    TIM_MasterConfigTypeDef sMasterConfig = {0};

    htim6.Instance               = TIM6;
    htim6.Init.Prescaler         = 0;
    htim6.Init.CounterMode       = TIM_COUNTERMODE_UP;
    htim6.Init.Period            = 2499;
    htim6.Init.AutoReloadPreload = TIM_AUTORELOAD_PRELOAD_DISABLE;
    if (HAL_TIM_Base_Init(&htim6) != HAL_OK)
    {
        Error_Handler();
    }
    sMasterConfig.MasterOutputTrigger = TIM_TRGO_UPDATE;
    sMasterConfig.MasterSlaveMode     = TIM_MASTERSLAVEMODE_DISABLE;
    if (HAL_TIMEx_MasterConfigSynchronization(&htim6, &sMasterConfig) != HAL_OK)
    {
        Error_Handler();
    }
}

static void MX_TIM7_Init(void) {

    TIM_MasterConfigTypeDef sMasterConfig = {0};

    htim7.Instance               = TIM7;
    htim7.Init.Prescaler         = 0;
    htim7.Init.CounterMode       = TIM_COUNTERMODE_UP;
    htim7.Init.Period            = 11999;
    htim7.Init.AutoReloadPreload = TIM_AUTORELOAD_PRELOAD_DISABLE;
    if (HAL_TIM_Base_Init(&htim7) != HAL_OK)
    {
        Error_Handler();
    }
    sMasterConfig.MasterOutputTrigger = TIM_TRGO_UPDATE;
    sMasterConfig.MasterSlaveMode     = TIM_MASTERSLAVEMODE_DISABLE;
    if (HAL_TIMEx_MasterConfigSynchronization(&htim7, &sMasterConfig) != HAL_OK)
    {
        Error_Handler();
    }
}

static void MX_TIM8_Init(void) {

    TIM_ClockConfigTypeDef  sClockSourceConfig = {0};
    TIM_MasterConfigTypeDef sMasterConfig      = {0};

    htim8.Instance               = TIM8;
    htim8.Init.Prescaler         = 0;
    htim8.Init.CounterMode       = TIM_COUNTERMODE_UP;
    htim8.Init.Period            = 7;
    htim8.Init.ClockDivision     = TIM_CLOCKDIVISION_DIV1;
    htim8.Init.RepetitionCounter = 0;
    htim8.Init.AutoReloadPreload = TIM_AUTORELOAD_PRELOAD_DISABLE;
    if (HAL_TIM_Base_Init(&htim8) != HAL_OK)
    {
        Error_Handler();
    }
    sClockSourceConfig.ClockSource = TIM_CLOCKSOURCE_INTERNAL;
    if (HAL_TIM_ConfigClockSource(&htim8, &sClockSourceConfig) != HAL_OK)
    {
        Error_Handler();
    }
    sMasterConfig.MasterOutputTrigger  = TIM_TRGO_UPDATE;
    sMasterConfig.MasterOutputTrigger2 = TIM_TRGO2_RESET;
    sMasterConfig.MasterSlaveMode      = TIM_MASTERSLAVEMODE_DISABLE;
    if (HAL_TIMEx_MasterConfigSynchronization(&htim8, &sMasterConfig) != HAL_OK)
    {
        Error_Handler();
    }
}

static void MX_TIM17_Init(void) {

    htim17.Instance               = TIM17;
    htim17.Init.Prescaler         = 11999;
    htim17.Init.CounterMode       = TIM_COUNTERMODE_UP;
    htim17.Init.Period            = 65535;
    htim17.Init.ClockDivision     = TIM_CLOCKDIVISION_DIV1;
    htim17.Init.RepetitionCounter = 0;
    htim17.Init.AutoReloadPreload = TIM_AUTORELOAD_PRELOAD_DISABLE;
    if (HAL_TIM_Base_Init(&htim17) != HAL_OK)
    {
        Error_Handler();
    }
}

static void MX_UART4_Init(void) {

    huart4.Instance                    = UART4;
    huart4.Init.BaudRate               = 115200;
    huart4.Init.WordLength             = UART_WORDLENGTH_8B;
    huart4.Init.StopBits               = UART_STOPBITS_1;
    huart4.Init.Parity                 = UART_PARITY_NONE;
    huart4.Init.Mode                   = UART_MODE_TX_RX;
    huart4.Init.HwFlowCtl              = UART_HWCONTROL_NONE;
    huart4.Init.OverSampling           = UART_OVERSAMPLING_16;
    huart4.Init.OneBitSampling         = UART_ONE_BIT_SAMPLE_DISABLE;
    huart4.Init.ClockPrescaler         = UART_PRESCALER_DIV1;
    huart4.AdvancedInit.AdvFeatureInit = UART_ADVFEATURE_NO_INIT;
    if (HAL_UART_Init(&huart4) != HAL_OK)
    {
        Error_Handler();
    }
    if (HAL_UARTEx_SetTxFifoThreshold(&huart4, UART_TXFIFO_THRESHOLD_1_8) != HAL_OK)
    {
        Error_Handler();
    }
    if (HAL_UARTEx_SetRxFifoThreshold(&huart4, UART_RXFIFO_THRESHOLD_1_8) != HAL_OK)
    {
        Error_Handler();
    }
    if (HAL_UARTEx_DisableFifoMode(&huart4) != HAL_OK)
    {
        Error_Handler();
    }
    /* USER CODE BEGIN UART4_Init 2 */

    sserInitUart(&huart4);

    /* USER CODE END UART4_Init 2 */
}

static void MX_DMA_Init(void) {
    /* DMA controller clock enable */
    __HAL_RCC_DMA1_CLK_ENABLE();

    /* DMA interrupt init */
    /* DMA1_Stream0_IRQn interrupt configuration */
    HAL_NVIC_SetPriority(DMA1_Stream0_IRQn, 14, 0);
    HAL_NVIC_EnableIRQ(DMA1_Stream0_IRQn);
    /* DMA1_Stream1_IRQn interrupt configuration */
    HAL_NVIC_SetPriority(DMA1_Stream1_IRQn, 12, 0);
    HAL_NVIC_EnableIRQ(DMA1_Stream1_IRQn);
    /* DMA1_Stream2_IRQn interrupt configuration */
    HAL_NVIC_SetPriority(DMA1_Stream2_IRQn, 13, 0);
    HAL_NVIC_EnableIRQ(DMA1_Stream2_IRQn);
}

static void MX_GPIO_Init(void) {
    GPIO_InitTypeDef GPIO_InitStruct = {0};

    /* GPIO Ports Clock Enable */
    __HAL_RCC_GPIOE_CLK_ENABLE();
    __HAL_RCC_GPIOH_CLK_ENABLE();
    __HAL_RCC_GPIOA_CLK_ENABLE();
    __HAL_RCC_GPIOC_CLK_ENABLE();
    __HAL_RCC_GPIOD_CLK_ENABLE();
    __HAL_RCC_GPIOB_CLK_ENABLE();

    /*Configure GPIO pin Output Level */
    HAL_GPIO_WritePin(GPIOE, LCD_CS_Pin | LCD_RESET_Pin, GPIO_PIN_RESET);

    /*Configure GPIO pin Output Level */
    HAL_GPIO_WritePin(LED0_GPIO_Port, LED0_Pin, GPIO_PIN_RESET);

    /*Configure GPIO pin Output Level */
    HAL_GPIO_WritePin(GPIOD, MUX_EN_OG_KEY_ROW_Pin | MUX_EN_OG_KEY_COL_Pin | MUX_EN_OG_KBD_ROW_Pin | MUX_EN_OG_KBD_COL_Pin
                             | MUX_EN_KBDV_ROW_Pin | MUX_EN_KBDV_COL_Pin | MUX_EN_KEY_ROW_Pin | MUX_EN_KEY_COL_Pin
                             | MUX_S0_Pin | MUX_S1_Pin | MUX_S2_Pin | MUX_S3_Pin, GPIO_PIN_RESET);

    /*Configure GPIO pin : LCD_CS_Pin */
    GPIO_InitStruct.Pin   = LCD_CS_Pin;
    GPIO_InitStruct.Mode  = GPIO_MODE_OUTPUT_PP;
    GPIO_InitStruct.Pull  = GPIO_NOPULL;
    GPIO_InitStruct.Speed = GPIO_SPEED_FREQ_VERY_HIGH;
    HAL_GPIO_Init(LCD_CS_GPIO_Port, &GPIO_InitStruct);

    /*Configure GPIO pin : LCD_RESET_Pin */
    GPIO_InitStruct.Pin   = LCD_RESET_Pin;
    GPIO_InitStruct.Mode  = GPIO_MODE_OUTPUT_PP;
    GPIO_InitStruct.Pull  = GPIO_PULLDOWN;
    GPIO_InitStruct.Speed = GPIO_SPEED_FREQ_LOW;
    HAL_GPIO_Init(LCD_RESET_GPIO_Port, &GPIO_InitStruct);

    /*Configure GPIO pin : LED0_Pin */
    GPIO_InitStruct.Pin   = LED0_Pin;
    GPIO_InitStruct.Mode  = GPIO_MODE_OUTPUT_PP;
    GPIO_InitStruct.Pull  = GPIO_NOPULL;
    GPIO_InitStruct.Speed = GPIO_SPEED_FREQ_LOW;
    HAL_GPIO_Init(LED0_GPIO_Port, &GPIO_InitStruct);

    /*Configure GPIO pin : BTN_RUN_Pin */
    GPIO_InitStruct.Pin  = BTN_RUN_Pin;
    GPIO_InitStruct.Mode = GPIO_MODE_INPUT;
    GPIO_InitStruct.Pull = GPIO_PULLUP;
    HAL_GPIO_Init(BTN_RUN_GPIO_Port, &GPIO_InitStruct);

    /*Configure GPIO pins : MUX_EN_OG_KEY_ROW_Pin MUX_EN_OG_KEY_COL_Pin MUX_EN_OG_KBD_ROW_Pin MUX_EN_OG_KBD_COL_Pin
                             MUX_EN_KBDV_ROW_Pin MUX_EN_KBDV_COL_Pin MUX_EN_KEY_ROW_Pin MUX_EN_KEY_COL_Pin
                             MUX_S1_Pin */
    GPIO_InitStruct.Pin = MUX_EN_OG_KEY_ROW_Pin | MUX_EN_OG_KEY_COL_Pin | MUX_EN_OG_KBD_ROW_Pin | MUX_EN_OG_KBD_COL_Pin
                          | MUX_EN_KBDV_ROW_Pin | MUX_EN_KBDV_COL_Pin | MUX_EN_KEY_ROW_Pin | MUX_EN_KEY_COL_Pin
                          | MUX_S1_Pin;
    GPIO_InitStruct.Mode  = GPIO_MODE_OUTPUT_PP;
    GPIO_InitStruct.Pull  = GPIO_NOPULL;
    GPIO_InitStruct.Speed = GPIO_SPEED_FREQ_LOW;
    HAL_GPIO_Init(GPIOD, &GPIO_InitStruct);

    /*Configure GPIO pin : MUX_SIG_Pin */
    GPIO_InitStruct.Pin  = MUX_SIG_Pin;
    GPIO_InitStruct.Mode = GPIO_MODE_INPUT;
    GPIO_InitStruct.Pull = GPIO_PULLDOWN;
    HAL_GPIO_Init(MUX_SIG_GPIO_Port, &GPIO_InitStruct);

    /*Configure GPIO pins : MUX_S0_Pin MUX_S2_Pin MUX_S3_Pin */
    GPIO_InitStruct.Pin   = MUX_S0_Pin | MUX_S2_Pin | MUX_S3_Pin;
    GPIO_InitStruct.Mode  = GPIO_MODE_OUTPUT_PP;
    GPIO_InitStruct.Pull  = GPIO_PULLDOWN;
    GPIO_InitStruct.Speed = GPIO_SPEED_FREQ_LOW;
    HAL_GPIO_Init(GPIOD, &GPIO_InitStruct);

    /*Configure GPIO pins : ROT_SW_Pin ROT_B_Pin ROT_A_Pin */
    GPIO_InitStruct.Pin  = ROT_SW_Pin | ROT_B_Pin | ROT_A_Pin;
    GPIO_InitStruct.Mode = GPIO_MODE_INPUT;
    GPIO_InitStruct.Pull = GPIO_PULLUP;
    HAL_GPIO_Init(GPIOB, &GPIO_InitStruct);

    /*Configure GPIO pin : BTN_DBG_Pin */
    GPIO_InitStruct.Pin  = BTN_DBG_Pin;
    GPIO_InitStruct.Mode = GPIO_MODE_INPUT;
    GPIO_InitStruct.Pull = GPIO_PULLDOWN;
    HAL_GPIO_Init(BTN_DBG_GPIO_Port, &GPIO_InitStruct);

}

/* USER CODE BEGIN 4 */

// pBlkCnt = 0 if (pByteOffset isn't 0 or pByteCount isn't BLOCK_SIZE) else pBlkCnt
synthErrno sfsReadBlocks(u8 *pData, u32 pBlkIdx, u8 pBlkCnt, u16 pByteOffset, u16 pByteCount) {
    HAL_StatusTypeDef ret = HAL_ERROR;
    if (pByteOffset == 0 && pByteCount == BLOCK_SIZE)
    {
        halt(hsd1.State != HAL_SD_STATE_READY);
        __disable_irq();
        ret = HAL_SD_ReadBlocks(&hsd1, pData, pBlkIdx, pBlkCnt, 1000);
        __enable_irq();
    }
    else
    {
        halt(hsd1.State != HAL_SD_STATE_READY);
        __disable_irq();
        ret = HAL_SD_ReadBlocks(&hsd1, gSfsTmpBlock, pBlkIdx, 1, 1000);
        __enable_irq();

        if (pByteOffset + pByteCount > BLOCK_SIZE)
        {
            u32 remaining = pByteCount;
            u32 count     = BLOCK_SIZE - pByteOffset;
            memcpy(pData, gSfsTmpBlock + pByteOffset, count);

            pData += count;
            remaining -= count;

            u32 fullBlocksLeft = remaining / BLOCK_SIZE;
            if (fullBlocksLeft > 0)
            {
                halt(hsd1.State != HAL_SD_STATE_READY);
                __disable_irq();
                ret = HAL_SD_ReadBlocks(&hsd1, pData, ++pBlkIdx, fullBlocksLeft, 1000);
                __enable_irq();

                pBlkIdx += fullBlocksLeft;
                pData += fullBlocksLeft * BLOCK_SIZE;
                remaining -= fullBlocksLeft * BLOCK_SIZE;
            }

            if (remaining > 0)
            {
                halt(hsd1.State != HAL_SD_STATE_READY);
                __disable_irq();
                ret = HAL_SD_ReadBlocks(&hsd1, gSfsTmpBlock, pBlkIdx, 1, 1000);
                __enable_irq();

                memcpy(pData, gSfsTmpBlock, remaining);
            }
        }
        else
        {
            memcpy(pData, gSfsTmpBlock + pByteOffset, pByteCount);
        }
    }

    if (ret != HAL_OK)
    {
        sysError(SERR_SD_GENERIC_ERROR);
    }
    return ret == HAL_OK ? SERR_OK : SERR_SD_GENERIC_ERROR;
}

synthErrno sfsWriteBlocks(u8 *pData, u32 pBlkIdx, u8 pBlkCnt, u16 pByteOffset, u16 pByteCount) {
    UNUSED(pByteOffset);
    UNUSED(pByteCount);

    auto ret = HAL_SD_WriteBlocks(&hsd1, pData, pBlkIdx, pBlkCnt, 1000);
    if (ret == HAL_OK)
    {
        return SERR_OK;
    }

    return SERR_SD_GENERIC_ERROR;
}

void HAL_DAC_ConvHalfCpltCallbackCh1(DAC_HandleTypeDef *pDac) {
    if (gSysIsBusy)
    {
        gSysSkippedPasses++;
        return;
    }
    gSysIsBusy = true;

    splrSynthesize();
    memcpy(gSysDacBuf, gSplrFrontBuf, SPLR_DAC_HALF_BUFFER_SIZE);

    sysPoll();

    gSysIsBusy = false;
}

void HAL_DAC_ConvCpltCallbackCh1(DAC_HandleTypeDef *pDac) {
    if (gSysIsBusy)
    {
        gSysSkippedPasses++;
        return;
    }
    gSysIsBusy = true;

    splrSynthesize();
    memcpy(gSysDacBuf + SPLR_DAC_HALF_SAMPLE_COUNT, gSplrFrontBuf, SPLR_DAC_HALF_BUFFER_SIZE);

    sysPoll();

    gSysIsBusy = false;
}

void HAL_DACEx_ConvCpltCallbackCh2(DAC_HandleTypeDef *hdac) {
    if (hdac->ErrorCode)
    {
        sysError(SERR_GENERIC_ERROR);
    }
}

void HAL_SPI_TxCpltCallback(SPI_HandleTypeDef *hspi) {
    if (hspi->Instance == gGlcdSpi->Instance)
    {
        gGlcdFrameCounter++;
        gGlcdFinishedRendering = true;
        glcdCsLow();
    }
}

void HAL_UART_TxCpltCallback(UART_HandleTypeDef *huart) {
    gSserBusy = false;
}

/* USER CODE END 4 */

/* MPU Configuration */

void MPU_Config(void) {
    MPU_Region_InitTypeDef MPU_InitStruct = {0};

    /* Disables the MPU */
    HAL_MPU_Disable();

    /** Initializes and configures the Region and the memory to be protected
    */
    MPU_InitStruct.Enable           = MPU_REGION_ENABLE;
    MPU_InitStruct.Number           = MPU_REGION_NUMBER0;
    MPU_InitStruct.BaseAddress      = 0x0;
    MPU_InitStruct.Size             = MPU_REGION_SIZE_4GB;
    MPU_InitStruct.SubRegionDisable = 0x87;
    MPU_InitStruct.TypeExtField     = MPU_TEX_LEVEL0;
    MPU_InitStruct.AccessPermission = MPU_REGION_NO_ACCESS;
    MPU_InitStruct.DisableExec      = MPU_INSTRUCTION_ACCESS_DISABLE;
    MPU_InitStruct.IsShareable      = MPU_ACCESS_SHAREABLE;
    MPU_InitStruct.IsCacheable      = MPU_ACCESS_NOT_CACHEABLE;
    MPU_InitStruct.IsBufferable     = MPU_ACCESS_NOT_BUFFERABLE;

    HAL_MPU_ConfigRegion(&MPU_InitStruct);
    /* Enables the MPU */
    HAL_MPU_Enable(MPU_PRIVILEGED_DEFAULT);
}

void HAL_TIM_PeriodElapsedCallback(TIM_HandleTypeDef *htim) {
    if (htim->Instance == TIM2)
    {
        HAL_IncTick();
    }
}

void Error_Handler(void) {
    /* USER CODE BEGIN Error_Handler_Debug */
    /* User can add his own implementation to report the HAL error return state */
    __disable_irq();
    while (1)
    {
        HAL_GPIO_TogglePin(LED0_GPIO_Port, LED0_Pin);
        HAL_Delay(500);
        HAL_GPIO_TogglePin(LED0_GPIO_Port, LED0_Pin);
        HAL_Delay(100);
        HAL_GPIO_TogglePin(LED0_GPIO_Port, LED0_Pin);
        HAL_Delay(100);
        HAL_GPIO_TogglePin(LED0_GPIO_Port, LED0_Pin);
        HAL_Delay(300);
    }
    /* USER CODE END Error_Handler_Debug */
}
